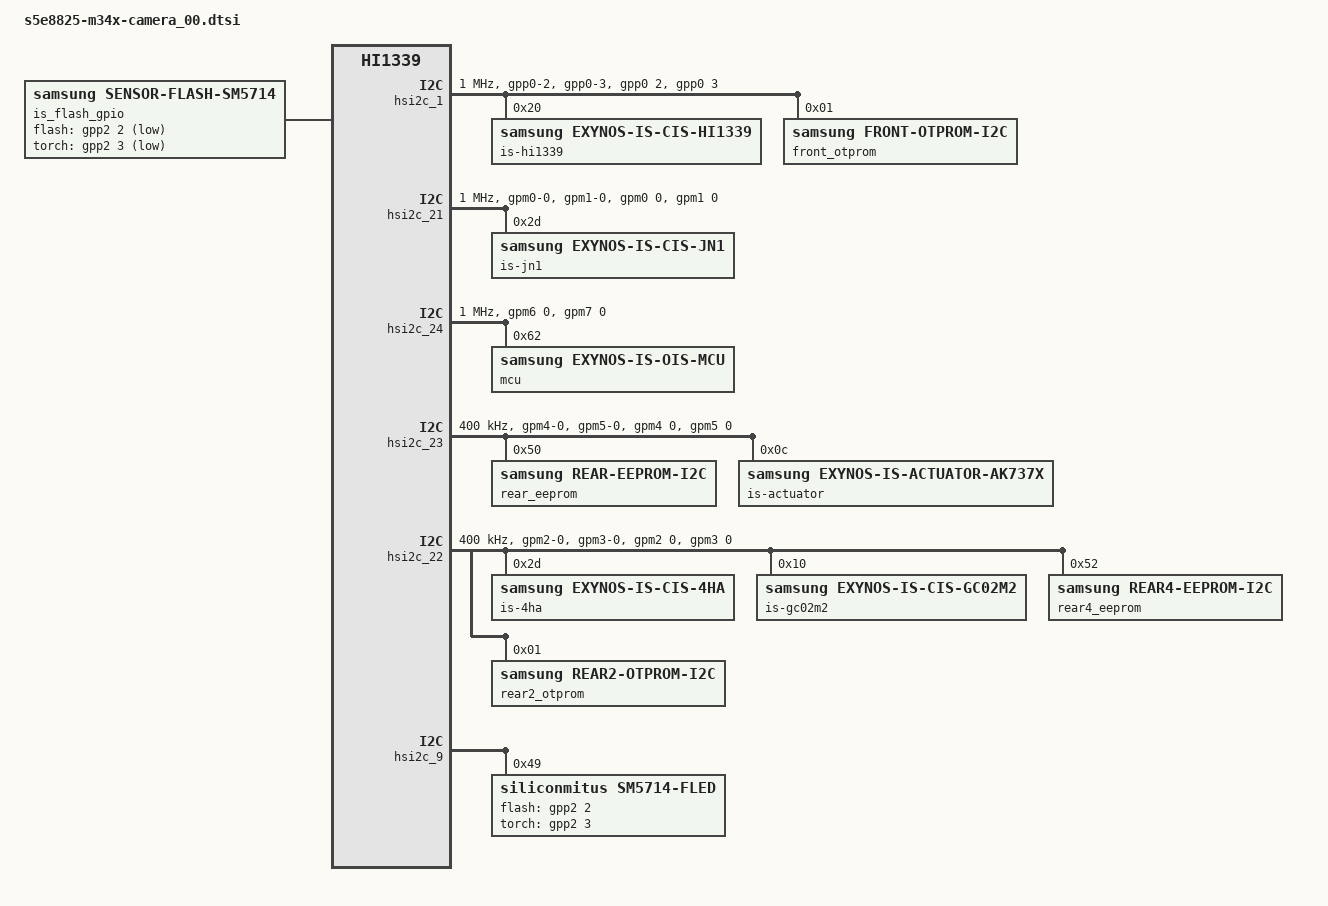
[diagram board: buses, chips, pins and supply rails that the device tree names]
/*
 * Samsung Exynos SoC series Pablo driver
 *
 * Copyright (c) 2021 Samsung Electronics Co., Ltd
 *
 * This program is free software; you can redistribute it and/or modify
 * it under the terms of the GNU General Public License version 2 as
 * published by the Free Software Foundation.
 */

#include <dt-bindings/camera/exynos_is_dt.h>

#include "module_jn1.dtsi"
#include "module_4ha.dtsi"
#include "module_gc02m2.dtsi"
#include "module_hi1339.dtsi"

/ {
	fragment@camera {
		target-path = "/";
		__overlay__ {
			#address-cells = <2>;
			#size-cells = <1>;
			interrupt-parent = <&gic>;

			is_sensor_jn1: is_sensor_jn1@2D {
				power_seq {
					scenario_normal_on {
						20 { pname = "VDDIO_1.8V_CAM"; pin = <PIN_OUTPUT 1 6000>; gpio = <&gpm10 0 0x1>; share = <SRT_ACQUIRE SHARED_PIN1 1>; };
					};

					scenario_normal_off {
						90 { pname = "VDDIO_1.8V_CAM"; pin = <PIN_OUTPUT 0 0>; gpio = <&gpm10 0 0x1>; share = <SRT_RELEASE SHARED_PIN1 0>; };
					};

					scenario_ois_factory_on {
						20 { pname = "VDDIO_1.8V_CAM"; pin = <PIN_OUTPUT 1 1000 1800000>; gpio = <&gpm10 0 0x1>; share = <SRT_ACQUIRE SHARED_PIN1 1>; };
					};

					scenario_ois_factory_off {
						90 { pname = "VDDIO_1.8V_CAM"; pin = <PIN_OUTPUT 0 0>; gpio = <&gpm10 0 0x1>; share = <SRT_RELEASE SHARED_PIN1 0>; };
					};

					scenario_read_rom_on {
						10 { pname = "VDDIO_1.8V_CAM"; pin = <PIN_OUTPUT 1 6000>; gpio = <&gpm10 0 0x1>; share = <SRT_ACQUIRE SHARED_PIN1 1>; };
					};

					scenario_read_rom_off {
						20 { pname = "VDDIO_1.8V_CAM"; pin = <PIN_OUTPUT 0 22000>; gpio = <&gpm10 0 0x1>; share = <SRT_RELEASE SHARED_PIN1 0>; };
					};
				};
			};

			/* Front */
			is_sensor_hi1339: is_sensor_hi1339@20 {
				power_seq {
					scenario_normal_on {
						30 { pname = "VDDIO_1.8V_CAM"; pin = <PIN_OUTPUT 1 0>; gpio = <&gpm10 0 0x1>; share = <SRT_ACQUIRE SHARED_PIN1 1>;};
					};

					scenario_normal_off {
						90 { pname = "VDDIO_1.8V_CAM"; pin = <PIN_OUTPUT 0 0>; gpio = <&gpm10 0 0x1>; share = <SRT_RELEASE SHARED_PIN1 0>;};
					};

					scenario_read_rom_on {
						30 { pname = "VDDIO_1.8V_CAM"; pin = <PIN_OUTPUT 1 0>; gpio = <&gpm10 0 0x1>; share = <SRT_ACQUIRE SHARED_PIN1 1>;};
					};

					scenario_read_rom_off {
						90 { pname = "VDDIO_1.8V_CAM"; pin = <PIN_OUTPUT 0 0>; gpio = <&gpm10 0 0x1>; share = <SRT_RELEASE SHARED_PIN1 0>;};
					};

				};
			};

			/* MACRO */
			is_sensor_gc02m2: is_sensor_gc02m2@20 {  /* is_sensor_gc02m1: is_sensor_gc02m1@6e */
				power_seq {
					scenario_normal_on {
						20 { pname = "VDDIO_1.8V_CAM"; pin = <PIN_OUTPUT 1 1000>; gpio = <&gpm10 0 0x1>; share = <SRT_ACQUIRE SHARED_PIN1 1>;};
						30 { pname = "VDDA_2.8V_RACM2_RCAM3"; pin = <PIN_OUTPUT 1 1000>; gpio = <&gpm9 0 0x1>; share = <SRT_ACQUIRE SHARED_PIN3 1>;};
						60 { pname = "MCLK"; pin = <PIN_MCLK 1 12000>; gpio = <&gpg0 4 0x1>; share = <SRT_ACQUIRE SHARED_PIN2 1>;};
					};

					scenario_normal_off {
						20 { pname = "MCLK"; pin = <PIN_MCLK 0 0>; gpio = <&gpg0 4 0x1>; share = <SRT_RELEASE SHARED_PIN2 0>;};
						70 { pname = "VDDA_2.8V_RACM2_RCAM3"; pin = <PIN_OUTPUT 0 11000>; gpio = <&gpm9 0 0x1>; share = <SRT_RELEASE SHARED_PIN3 0>;};
						80 { pname = "VDDIO_1.8V_CAM"; pin = <PIN_OUTPUT 0 1000>; gpio = <&gpm10 0 0x1>; share = <SRT_RELEASE SHARED_PIN1 0>;};
					};

					scenario_read_rom_on {
						10 { pname = "VDDIO_1.8V_CAM"; pin = <PIN_OUTPUT 1 7500>; gpio = <&gpm10 0 0x1>; share = <SRT_ACQUIRE SHARED_PIN1 1>;};
					};

					scenario_read_rom_off {
						20 { pname = "VDDIO_1.8V_CAM"; pin = <PIN_OUTPUT 0 1000>; gpio = <&gpm10 0 0x1>; share = <SRT_RELEASE SHARED_PIN1 0>;};
					};
				};
			};

			/* UW */
			is_sensor_4ha: is_sensor_4ha@5A {
				power_seq {
					scenario_normal_on {
						20 { pname = "VDDIO_1.8V_CAM"; pin = <PIN_OUTPUT 1 0>; gpio = <&gpm10 0 0x1>; share = <SRT_ACQUIRE SHARED_PIN1 1>;};
						40 { pname = "VDDA_2.8V_RACM2_RCAM3"; pin = <PIN_OUTPUT 1 0>; gpio = <&gpm9 0 0x1>; share = <SRT_ACQUIRE SHARED_PIN3 1>;};
						70 { pname = "MCLK"; pin = <PIN_MCLK 1 1500>; gpio = <&gpg0 4 0x1>; share = <SRT_ACQUIRE SHARED_PIN2 1>;};
					};

					scenario_normal_off {
						20 { pname = "MCLK"; pin = <PIN_MCLK 0 0>; gpio = <&gpg0 4 0x1>; share = <SRT_RELEASE SHARED_PIN2 0>;};
						70 { pname = "VDDA_2.8V_RACM2_RCAM3"; pin = <PIN_OUTPUT 0 11000>; gpio = <&gpm9 0 0x1>; share = <SRT_RELEASE SHARED_PIN3 0>;};
						90 { pname = "VDDIO_1.8V_CAM"; pin = <PIN_OUTPUT 0 0>; gpio = <&gpm10 0 0x1>; share = <SRT_RELEASE SHARED_PIN1 0>;};
					};

					scenario_read_rom_on {
						20 { pname = "VDDIO_1.8V_CAM"; pin = <PIN_OUTPUT 1 0>; gpio = <&gpm10 0 0x1>; share = <SRT_ACQUIRE SHARED_PIN1 1>;};
						40 { pname = "VDDA_2.8V_RACM2_RCAM3"; pin = <PIN_OUTPUT 1 0>; gpio = <&gpm9 0 0x1>; share = <SRT_ACQUIRE SHARED_PIN3 1>;};
						70 { pname = "MCLK"; pin = <PIN_MCLK 1 1500>; gpio = <&gpg0 4 0x1>; share = <SRT_ACQUIRE SHARED_PIN2 1>;};
					};

					scenario_read_rom_off {
						20 { pname = "MCLK"; pin = <PIN_MCLK 0 0>; gpio = <&gpg0 4 0x1>; share = <SRT_RELEASE SHARED_PIN2 0>;};
						70 { pname = "VDDA_2.8V_RACM2_RCAM3"; pin = <PIN_OUTPUT 0 11000>; gpio = <&gpm9 0 0x1>; share = <SRT_RELEASE SHARED_PIN3 0>;};
						90 { pname = "VDDIO_1.8V_CAM"; pin = <PIN_OUTPUT 0 0>; gpio = <&gpm10 0 0x1>; share = <SRT_RELEASE SHARED_PIN1 0>;};
					};
				};
			};

			is_flash_gpio: is-flash-gpio@0 {
				compatible = "samsung,sensor-flash-sm5714";
				sensor-module = <&is_sensor_jn1>,<&is_sensor_gc02m2>;
				id = <0 3>;
				status = "okay";
				flash-gpio = <&gpp2 2 0x1>;
				torch-gpio = <&gpp2 3 0x1>;
			};

		dcphy_setfile_dphy_m34x_vt_uw: dcphy_setfile_dphy_m34x_vt_uw@00 {
			comm {
				/* bias */
				0  = <0x1000 0 32 0x00000010 IDX_BIA_VAL 0>; /* M_BIAS_CON0 */
				1  = <0x1004 0 32 0x00000110 IDX_BIA_VAL 0>; /* M_BIAS_CON1 */
				2  = <0x1008 0 32 0x00003223 IDX_BIA_VAL 0>; /* M_BIAS_CON2 */
				3  = <0x1010 0 32 0x00000200 IDX_BIA_VAL 0>; /* M_BIAS_CON4 */

				/* clock */
				4  = <0x0004 0 32 0x00001450 IDX_FIX_VAL 0>; /* SC_GNR_CON1 */
				5  = <0x0008 0 32 0x00000009 IDX_FIX_VAL 0>; /* SC_ANA_CON0 */
				6  = <0x000C 0 32 0x0000E840 IDX_FIX_VAL 0>; /* SC_ANA_CON1 */
				7  = <0x0010 0 32 0x00000003 IDX_FIX_VAL 0>; /* SC_ANA_CON2 */
				8  = <0x0014 0 32 0x00008600 IDX_FIX_VAL 0>; /* SC_ANA_CON3 */
				9  = <0x0018 0 32 0x00004000 IDX_FIX_VAL 0>; /* SC_ANA_CON4 */
				10 = <0x0030 0 32 0x00000301 IDX_FIX_VAL 0>; /* SC_TIME_CON0 */
				/* Enable should be set at last. */
				11 = <0x0000 0 32 0x00000001 IDX_FIX_VAL 0>; /* SC_GNR_CON0, Phy clock enable */
			};

			lane {
				0  = <0x0004 0 32 0x00001450 IDX_FIX_VAL 4>; /* SD_GNR_CON1 */
				1  = <0x0008 0 32 0x00000001 IDX_FIX_VAL 4>; /* SD_ANA_CON0 - for setting of sd lane */
				2  = <0x0008 0 32 0x00000009 IDX_FIX_VAL 3>; /* SD_ANA_CON0 - for setting of csd lane */
				3  = <0x000C 0 32 0x0000E840 IDX_FIX_VAL 4>; /* SD_ANA_CON1 */
				4  = <0x0010 0 32 0x00000003 IDX_FIX_VAL 4>; /* SD_ANA_CON2 */
				5  = <0x0010 8  2 0x00000000 IDX_SKW_DLY 4>; /* SD_ANA_CON2 */
				6  = <0x0014 0 32 0x00008600 IDX_FIX_VAL 4>; /* SD_ANA_CON3 */
				7  = <0x0018 0 32 0x00004000 IDX_FIX_VAL 4>; /* SD_ANA_CON4 */
				8  = <0x0024 0 32 0x00000040 IDX_FIX_VAL 3>; /* SD_ANA_CON7 - for setting of only csd */
				9  = <0x0030 0  8 0x00000000 IDX_STL_VAL 4>; /* SD_TIME_CON0 */
				10 = <0x0030 8  1 0x00000000 IDX_STL_CLK 4>; /* SD_TIME_CON0 */
				11 = <0x0034 0 32 0x00000003 IDX_FIX_VAL 4>; /* SD_TIME_CON1 */
				12 = <0x0040 0  1 0x00000001 IDX_SKW_CAL 4>; /* SD_DESKEW_CON0 */
				13 = <0x0050 0 32 0x0000081A IDX_FIX_VAL 4>; /* SD_DESKEW_CON4 */
				/* Enable should be set at last. */
				14 = <0x0000 0 32 0x00000001 IDX_FIX_VAL 4>; /* SD_GNR_CON0 , Phy data enable */
			};
		};

		dphy_setfile_m34x_w_m: dphy_setfile_m34x_w_m@00 {
			comm {
				/* bias */
				0  = <0x1000 0 32 0x00000010 IDX_BIA_VAL 0>; /* M_BIAS_CON0 */
				1  = <0x1004 0 32 0x00000110 IDX_BIA_VAL 0>; /* M_BIAS_CON1 */
				2  = <0x1008 0 32 0x00003223 IDX_BIA_VAL 0>; /* M_BIAS_CON2 */
				3  = <0x1010 0 32 0x00000200 IDX_BIA_VAL 0>; /* M_BIAS_CON4 */

				/* clock */
				4  = <0x0004 0 32 0x00001450 IDX_FIX_VAL 0>; /* SC_GNR_CON1 */
				5  = <0x0008 0 32 0x00000009 IDX_FIX_VAL 0>; /* SC_ANA_CON0 */
				6  = <0x000C 0 32 0x0000EA61 IDX_FIX_VAL 0>; /* SC_ANA_CON1 */
				7  = <0x0010 0 32 0x00000003 IDX_FIX_VAL 0>; /* SC_ANA_CON2 */
				8  = <0x0014 0 32 0x00008600 IDX_FIX_VAL 0>; /* SC_ANA_CON3 */
				9  = <0x0018 0 32 0x00004000 IDX_FIX_VAL 0>; /* SC_ANA_CON4 */
				10 = <0x0030 0 32 0x00000301 IDX_FIX_VAL 0>; /* SC_TIME_CON0 */
				/* Enable should be set at last. */
				11 = <0x0000 0 32 0x00000001 IDX_FIX_VAL 0>; /* SC_GNR_CON0, Phy clock enable */
			};

			lane {
				0  = <0x0004 0 32 0x00001450 IDX_FIX_VAL 4>; /* SD_GNR_CON1 */
				1  = <0x0008 0 32 0x00000001 IDX_FIX_VAL 4>; /* SD_ANA_CON0 */
				2  = <0x000C 0 32 0x0000EA61 IDX_FIX_VAL 4>; /* SD_ANA_CON1 */
				3  = <0x0010 0 32 0x00000003 IDX_FIX_VAL 4>; /* SD_ANA_CON2 */
				4  = <0x0010 8  2 0x00000000 IDX_SKW_DLY 4>; /* SD_ANA_CON2 */
				5  = <0x0014 0 32 0x00008600 IDX_FIX_VAL 4>; /* SD_ANA_CON3 */
				6  = <0x0018 0 32 0x00004000 IDX_FIX_VAL 4>; /* SD_ANA_CON4 */
				7  = <0x0030 0  8 0x00000000 IDX_STL_VAL 4>; /* SD_TIME_CON0 */
				8  = <0x0030 8  1 0x00000000 IDX_STL_CLK 4>; /* SD_TIME_CON0 */
				9  = <0x0034 0 32 0x00000003 IDX_FIX_VAL 4>; /* SD_TIME_CON1 */
				10 = <0x0040 0  1 0x00000001 IDX_SKW_CAL 4>; /* SD_DESKEW_CON0 */
				11 = <0x0050 0 32 0x0000081A IDX_FIX_VAL 4>; /* SD_DESKEW_CON4 */
				/* Enable should be set at last. */
				12 = <0x0000 0 32 0x00000001 IDX_FIX_VAL 4>; /* SD_GNR_CON0 , Phy data enable */
			};
		};

			/* REAR CAMERA */
			is_sensor0: is_sensor0@15030000 {
				#address-cells = <1>;
				#size-cells = <1>;
				scenario = <SENSOR_SCENARIO_NORMAL>;	/* Normal, Vision, OIS etc */
				reg = <0x0 0x15050000 0x1000>, /* MIPI-CSI2 */
					<0x0 0x150F0000 0x10000>; /* PHY: M0S4S4S4S4S2S1 */
				//scenario = <SENSOR_SCENARIO_NORMAL>;    /* Normal, Vision, OIS etc */
				id = <0>;
				csi_ch = <2>;
				status = "okay";
				use_cphy = <0>;
				interrupts = <0 INTREQ__CSIS2 IRQ_TYPE_LEVEL_HIGH>; /* MIPI-CSI2 */
				interrupt-names = "csi";
				phys = <&mipi_phy_csis2_m0s4s4s4s4s2s1 0>;
				phy_setfile = <&dphy_setfile_m34x_w_m>;
				phy_tune_default_mode = "2032 1524 120";
			};

			/* MACRO CAMERA */
			is_sensor1: is_sensor1@15040000 {
				#address-cells = <1>;
				#size-cells = <1>;
				reg = <0x0 0x15060000 0x1000>, /* MIPI-CSI3 */
					<0x0 0x150F0000 0x10000>; /* PHY: M0S4S4S4S4S2S1 */
				scenario = <SENSOR_SCENARIO_NORMAL>;    /* Normal, Vision, OIS etc */
				id = <3>;
				csi_ch = <3>;
				status = "okay";
				use_cphy = <0>;
				interrupts = <0 INTREQ__CSIS3 IRQ_TYPE_LEVEL_HIGH>; /* MIPI-CSI3 */
				interrupt-names = "csi";
				phys = <&mipi_phy_csis3_m0s4s4s4s4s2s1 0>;
				phy_setfile = <&dphy_setfile_m34x_w_m>;
				phy_tune_default_mode = "1600 1200 30";
			};

			/* UW CAMERA */
			is_sensor2: is_sensor2@15050000 {
				#address-cells = <1>;
				#size-cells = <1>;
				reg = <0x0 0x15040000 0x1000>, /* MIPI-CSI1 */
					<0x0 0x150F0000 0x10000>; /* PHY: M0S4S4S4S4S2S1 */
				scenario = <SENSOR_SCENARIO_NORMAL>;    /* Normal, Vision, OIS etc */
				id = <4>;
				csi_ch = <1>;
				status = "okay";
				interrupts = <0 INTREQ__CSIS1 IRQ_TYPE_LEVEL_HIGH>; /* MIPI-CSI1 */
				interrupt-names = "csi";
				phys = <&mipi_phy_csis1_m0s4s4s4s4s2s1 0>;
				phy_setfile = <&dcphy_setfile_dphy_m34x_vt_uw>;
				phy_tune_default_mode = "3264 2448 30";
			};

			/* FRONT CAMERA */
			is_sensor3: is_sensor3@15060000 {
				#address-cells = <1>;
				#size-cells = <1>;
				reg = <0x0 0x15030000 0x1000>, /* MIPI-CSI0 */
					<0x0 0x150F0000 0x10000>; /* PHY: M0S4S4S4S4S2S1 */
				scenario = <SENSOR_SCENARIO_NORMAL>;    /* Normal, Vision, OIS etc */
				id = <1>;
				csi_ch = <0>;
				status = "okay";
				interrupts = <0 INTREQ__CSIS0 IRQ_TYPE_LEVEL_HIGH>; /* MIPI-CSI0 */
				interrupt-names = "csi";
				phys = <&mipi_phy_csis0_m0s4s4s4s4s2s1 0>;
				phy_setfile = <&dcphy_setfile_dphy_m34x_vt_uw>;
				phy_tune_default_mode = "4128 3096 30";
			};

		}; /* end of __overlay__ */
	}; /* end of fragment */
}; /* end of root */

/***** reference symbol node *****/
/* GPIO_PERI */
&pinctrl_1 {
	/* WIDE I2C */
	hsi2c21_bus: hsi2c21-bus {
		samsung,pins = "gpm0-0", "gpm1-0";
		samsung,pin-function = <2>; /* 0: Input, 1: Output, 2: Func */
		samsung,pin-pud = <5>;      /* 0: NP, 1: PD, 2: Reserved, 3: PU */
		samsung,pin-drv = <0>;      /* 0: x1, 1: x2, 2: x3, 3: x4 */
	};

	hsi2c21_bus_in: hsi2c21-bus-in {
		samsung,pins = "gpm0-0", "gpm1-0";
		samsung,pin-function = <0>; /* 0: Input, 1: Output, 2: Func */
		samsung,pin-pud = <1>;      /* 0: NP, 1: PD, 2: Reserved, 3: PU */
		samsung,pin-drv = <0>;      /* 0: x1, 1: x2, 2: x3, 3: x4 */
		samsung,pin-con-pdn = <2>;  /* 0: Output0, 1: Output1, 2: Input, 3:Prev */
		samsung,pin-pud-pdn = <1>;  /* 0: NP, 1: PD, 2: Reserved, 3: PU */
	};

	/* BOKEH_UW_MACRO I2C */
	hsi2c22_bus: hsi2c22-bus {
		samsung,pins = "gpm2-0", "gpm3-0";
		samsung,pin-function = <3>; /* 0: Input, 1: Output, 2: Func */
		samsung,pin-pud = <3>;      /* 0: NP, 1: PD, 2: Reserved, 3: PU */
		samsung,pin-drv = <0>;      /* 0: x1, 1: x2, 2: x3, 3: x4 */
	};

	hsi2c22_bus_in: hsi2c22-bus-in {
		samsung,pins = "gpm2-0", "gpm3-0";
		samsung,pin-function = <0>; /* 0: Input, 1: Output, 2: Func */
		samsung,pin-pud = <1>;      /* 0: NP, 1: PD, 2: Reserved, 3: PU */
		samsung,pin-drv = <0>;      /* 0: x1, 1: x2, 2: x3, 3: x4 */
		samsung,pin-con-pdn = <2>;  /* 0: Output0, 1: Output1, 2: Input, 3:Prev */
		samsung,pin-pud-pdn = <1>;  /* 0: NP, 1: PD, 2: Reserved, 3: PU */
	};

	/* AF_EEP I2C */
	hsi2c23_bus: hsi2c23-bus {
		samsung,pins = "gpm4-0", "gpm5-0";
		samsung,pin-function = <2>; /* 0: Input, 1: Output, 2: Func */
		samsung,pin-pud = <3>;      /* 0: NP, 1: PD, 2: Reserved, 3: PU */
		samsung,pin-drv = <0>;      /* 0: x1, 1: x2, 2: x3, 3: x4 */
	};

	hsi2c23_bus_in: hsi2c23-bus-in {
		samsung,pins = "gpm4-0", "gpm5-0";
		samsung,pin-function = <0>; /* 0: Input, 1: Output, 2: Func */
		samsung,pin-pud = <1>;      /* 0: NP, 1: PD, 2: Reserved, 3: PU */
		samsung,pin-drv = <0>;      /* 0: x1, 1: x2, 2: x3, 3: x4 */
		samsung,pin-con-pdn = <2>;  /* 0: Output0, 1: Output1, 2: Input, 3:Prev */
		samsung,pin-pud-pdn = <1>;  /* 0: NP, 1: PD, 2: Reserved, 3: PU */
	};
};

&pinctrl_6 {

	/* FRONT I2C */
	hsi2c1_bus: hsi2c1-bus {
		samsung,pins = "gpp0-2", "gpp0-3";
		samsung,pin-function = <3>; /* 0: Input, 1: Output, 2: Func */
		samsung,pin-pud = <5>;      /* 0: NP, 1: PD, 2: Reserved, 3: PU */
		samsung,pin-drv = <0>;      /* 0: x1, 1: x2, 2: x3, 3: x4 */
	};

	hsi2c1_bus_in: hsi2c1-bus-in {
		samsung,pins = "gpp0-2", "gpp0-3";
		samsung,pin-function = <0>; /* 0: Input, 1: Output, 2: Func */
		samsung,pin-pud = <1>;      /* 0: NP, 1: PD, 2: Reserved, 3: PU */
		samsung,pin-drv = <0>;      /* 0: x1, 1: x2, 2: x3, 3: x4 */
		samsung,pin-con-pdn = <2>;  /* 0: Output0, 1: Output1, 2: Input, 3:Prev */
		samsung,pin-pud-pdn = <1>;  /* 0: NP, 1: PD, 2: Reserved, 3: PU */
	};

	is_flash: is-flash {
		samsung,pins = "gpp2-2", "gpp2-3";
		samsung,pin-function = <1>; /* 0: Input, 1: Output, 2: Func */
		samsung,pin-pud = <1>;      /* 0: NP, 1: PD, 2: Reserved, 3: PU */
		samsung,pin-drv = <0>;      /* 0: x1, 1: x2, 2: x3, 3: x4 */
		samsung,pin-con-pdn = <3>;  /* 0: Output0, 1: Output1, 2: Input, 3:Prev */
	};
};

&hsi2c_1 {
	#address-cells = <1>;
	#size-cells = <0>;
	gpios = <&gpp0 2 0 &gpp0 3 0>;
	status = "okay";
	clock-frequency = <1000000>;
	samsung,reset-before-trans;
	samsung,fast-plus-mode;

	pinctrl-names = "default","on_i2c","off_i2c";
	pinctrl-0 = <&hsi2c1_bus_in>;
	pinctrl-1 = <&hsi2c1_bus>;
	pinctrl-2 = <&hsi2c1_bus_in>;

	is-hi1339@40 {
		compatible = "samsung,exynos-is-cis-hi1339";
		sensor-module = <&is_sensor_hi1339>;
		reg = <0x20>; /* 1 bit right shift */
		id = <1>; /* matching is_sensor id */
		//use_initial_ae; /* for initial AE of face unlock */
		setfile = "setA";
		status = "okay";
		vendor_use_adaptive_mipi;
		sensor_f_number = <220>;	/* f number 2.2 */
	}; 
	front_otprom@40 { /* Front otprom */
		compatible = "samsung,front-otprom-i2c";
		reg = <0x01>;

		rom_power_position = <1>;
		rom_size = <0x1C84>;
		cal_map_es_version = <1>;
		camera_module_es_version = "A";
		/* skip_cal_loading;*/

		/* 20221026_A24 LTE_CAM1(Front_13M_Hi1339)_OTP_Front_Cal map V008.001_QC_LSI_MTK_??_Map.xlsx */
		/* 0 header */
		header_crc_check_list	= <0x0000 0x0051 0x0052>;
		/* 0 module */
		crc_check_list	= <0x0056 0x0477 0x0478>;
		/* Master */
		rom_header_version_start_addr	= <0x000A>;
		rom_header_cal_data_start_addr	= <0x0000>;
		rom_header_cal_map_ver_start_addr	= <0x0016>;
		rom_header_project_name_start_addr	= <0x1E>;
		rom_header_module_id_addr	= <0x0036>; /* 0x30 + reserved bytes */
		rom_header_sensor_id_addr	= <0x0040>;
		rom_awb_master_addr	= <0x0064>;

		/* standard cal */ 
		use_standard_cal;
		rom_standard_cal_start_addr	= <0x0056>;
		rom_standard_cal_end_addr	= <0x047B>;
		rom_standard_cal_sec2lsi_end_addr	= <0x1A63>;
		rom_awb_start_addr	= <0x0064>;
		rom_awb_end_addr	= <0x006B>;
		rom_shading_start_addr	= <0x006E>;
		rom_shading_end_addr	= <0x0466>;
		rom_awb_sec2lsi_start_addr	= <0x0064>;
		rom_awb_sec2lsi_end_addr	= <0x006B>;
		rom_awb_sec2lsi_checksum_addr	= <0x0070>;
		rom_awb_sec2lsi_checksum_len	= <0x000C>;
		rom_shading_sec2lsi_start_addr	= <0x0074>;
		rom_shading_sec2lsi_end_addr	= <0x1A5B>;
		rom_shading_sec2lsi_checksum_addr	= <0x1A60>;
		rom_shading_sec2lsi_checksum_len	= <0x19EC>;
	};
};

&hsi2c_21 {
	#address-cells = <1>;
	#size-cells = <0>;
	gpios = <&gpm0 0 0 &gpm1 0 0>;
	status = "okay";
	clock-frequency = <1000000>;
	samsung,reset-before-trans;
	samsung,fast-plus-mode;

	pinctrl-names = "default","on_i2c","off_i2c";
	pinctrl-0 = <&hsi2c21_bus_in>;
	pinctrl-1 = <&hsi2c21_bus>;
	pinctrl-2 = <&hsi2c21_bus_in>;

	is-jn1@5A {
		compatible = "samsung,exynos-is-cis-jn1";
		sensor-module = <&is_sensor_jn1>;
		reg = <0x2D>; /* 1 bit right shift */
		id = <0>; /* matching is_sensor id */
		setfile = "setA";
		status = "okay";
		vendor_use_adaptive_mipi;
		sensor_f_number = <180>;	/* f number 1.8 */
	};
};

&hsi2c_24 {
	#address-cells = <1>;
	#size-cells = <0>;
	gpios = <&gpm6 0 0 &gpm7 0 0>;
	status = "okay";
	clock-frequency = <1000000>;
	samsung,reset-before-trans;
	samsung,fast-plus-mode;

	mcu@C4 {
		compatible = "samsung,exynos-is-ois-mcu";
		reg = <0x62>;
		id = <0>;
		/* wx_pole, wy_pole, gyro_orientation, tx_pole, ty_pole */
		ois_gyro_list = <0x00 0x00 0x00>;
	};
};

&hsi2c_23 {
	#address-cells = <1>;
	#size-cells = <0>;
	gpios = <&gpm4 0 0 &gpm5 0 0>;
	status = "okay";
	clock-frequency = <400000>;
	samsung,reset-before-trans;

	pinctrl-names = "default","on_i2c","off_i2c";
	pinctrl-0 = <&hsi2c23_bus_in>;
	pinctrl-1 = <&hsi2c23_bus>;
	pinctrl-2 = <&hsi2c23_bus_in>;

	rear_eeprom@A0 { /* Rear Wide eeprom */
		compatible = "samsung,rear-eeprom-i2c";
		reg = <0x50>;

		rom_power_position = <0>;
		rom_size = <0x5382>;
		cal_map_es_version = <1>;
		camera_module_es_version = "A";
		/* skip_cal_loading;*/
		/* 0 header */
		header_crc_check_list = <0x0000 0x0103 0x0104>;
		crc_check_list = <  0x01A8 0x2253 0X2254
			0x26D8 0x2723 0x2724
			0x2728 0x2EE3 0x2EE4
			0x3748 0x3763 0x3764 >;
		/* Master */
		rom_header_version_start_addr = <0x76>;
		rom_header_cal_data_start_addr = <0x08>;
		rom_header_cal_map_ver_start_addr = <0x98>;
		rom_header_project_name_start_addr = <0xA0>;
		rom_header_module_id_addr = <0xB6>;
		rom_header_sensor_id_addr = <0xC0>;
		rom_awb_master_addr = <0x3748>;
#if 0
		/* Dual cal slave 0 - Bokeh DualCal info data (Set Cal) */
		rom_dualcal_slave0_start_addr = <0x1070>;
		rom_dualcal_slave0_size = <0x080C>; /* 2060 */
#endif
		/* Rear Crosstalk Cal data */
		rom_xtc_cal_data_start_addr = <0x01A8>;
		rom_xtc_cal_data_size = <0x20AC>;
		rom_xtc_cal_data_addr_list = <0x01A8 0x2253>;
		rear_remosaic_tetra_xtc_start_addr	= <0x1514>;
		rear_remosaic_tetra_xtc_size		= <0x0A34>;
		rear_remosaic_sensor_xtc_start_addr	= <0x1F48>;
		rear_remosaic_sensor_xtc_size		= <0x0300>;
		rear_remosaic_pdxtc_start_addr		= <0x01A8>;
		rear_remosaic_pdxtc_size			= <0x0FA0>;
		rear_remosaic_sw_ggc_start_addr		= <0x1148>;
		rear_remosaic_sw_ggc_size			= <0x0272>;

		rom_af_cal_addr = <0x26E4 0x26D8>; /*AF position inf 0 Near Far */

		use_standard_cal;
		rom_standard_cal_start_addr = <0x0108>;
		rom_standard_cal_end_addr = <0x3B67>;
		rom_standard_cal_sec2lsi_end_addr = <0x5147>;
		rom_awb_start_addr = <0x3748>;
		rom_awb_end_addr = <0x374F>;
		rom_shading_start_addr = <0x3768>;
		rom_shading_end_addr = <0x3B60>;
		rom_factory_start_addr = <0x3B68>;
		rom_factory_end_addr = <0x3DA1>;

		rom_awb_sec2lsi_start_addr = <0x3748>;
		rom_awb_sec2lsi_end_addr = <0x374F>;
		rom_awb_sec2lsi_checksum_addr = <0x3754>;
		rom_awb_sec2lsi_checksum_len = <0xC>;
		rom_shading_sec2lsi_start_addr = <0x3758>;
		rom_shading_sec2lsi_end_addr = <0x513F>;
		rom_shading_sec2lsi_checksum_addr = <0x5144>;
		rom_shading_sec2lsi_checksum_len = <0x19EC>;
		rom_factory_sec2lsi_start_addr = <0x5148>;

		/* sensor ois - xgg ygg xcoef ycoef xsupper ysupper calmark */
		rom_ois_list = <0x0158 0x015C 0x0164 0x0166 0x0180 0x0182 0x0178>;
	};

	is-actuator@18 {
		compatible = "samsung,exynos-is-actuator-ak737x";
		sensor-module = <&is_sensor_jn1>;
		reg = <0x0C>;
		id = <0>; /* matching is_sensor id */
		/* DW9825A: addr 0xF3, data 0x0E */
		vendor_product_id = <0xF3 0x0E 0xF3 0x00 0xF3 0x20 0xF3 0x13>;
		vendor_first_pos = <960>; /* 12bits */
		vendor_first_delay = <2000>;
		vendor_use_sleep_mode;
		vendor_use_standby_mode; /* with vendor_use_sleep_mode */
		/* delay settings for DW9825A */
		vendor_sleep_to_standby_delay = <3000>;
		vendor_active_to_standby_delay = <300>;
		status = "okay";
	};
};

&hsi2c_22 {
	#address-cells = <1>;
	#size-cells = <0>;
	gpios = <&gpm2 0 0 &gpm3 0 0>;
	status = "okay";
	clock-frequency = <400000>;
	samsung,reset-before-trans;

	pinctrl-names = "default","on_i2c","off_i2c";
	pinctrl-0 = <&hsi2c22_bus_in>;
	pinctrl-1 = <&hsi2c22_bus>;
	pinctrl-2 = <&hsi2c22_bus_in>;

	is-4ha@5A { /* UW */
		compatible = "samsung,exynos-is-cis-4ha";
		sensor-module = <&is_sensor_4ha>;
		reg = <0x2D>; /* 1 bit right shift */
		id = <4>; /* matching is_sensor id */
		setfile = "setB";
		status = "okay";
		sensor_f_number = <220>;	/* f number 2.2 */
	};
	is-gc02m2@20 { /* check macro */
		compatible = "samsung,exynos-is-cis-gc02m2";
		sensor-module = <&is_sensor_gc02m2>;
		reg = <0x10>; /* 1 bit right shift */
		id = <3>; /* matching is_sensor id */
		setfile = "setB";
		status = "okay";
		sensor_f_number = <240>;	/* f number 2.4 */
	};

	rear4_eeprom@A4 { /* Macro eeprom */
		compatible = "samsung,rear4-eeprom-i2c";
		reg = <0x52>;

		rom_power_position = <6>;
		rom_size = <0x1DC0>;
		cal_map_es_version = <1>;
		camera_module_es_version = "A";
		/* skip_cal_loading; */

		/* 0 header */
		header_crc_check_list = <0x0000 0x00FB 0x00FC>;
		/* 0 module */
		crc_check_list = <  0x0100 0x019B 0X019C 
			0x01A0 0x01AB 0x01AC
			0x01B0 0x05AB 0x05AC >;
		/* Master */
		rom_header_version_start_addr = <0x5E>;
		rom_header_cal_data_start_addr = <0x00>;
		rom_header_cal_map_ver_start_addr = <0x90>;
		rom_header_project_name_start_addr = <0x98>;
		rom_header_module_id_addr = <0xAE>;
		rom_header_sensor_id_addr = <0xB8>;
		rom_awb_master_addr = <0x01A0>;

		/* standard cal */
		use_standard_cal;
		rom_standard_cal_start_addr = <0x0100>;
		rom_standard_cal_end_addr = <0x05AF>;
		rom_standard_cal_sec2lsi_end_addr = <0x1B9F>;
		rom_awb_start_addr = <0x01A0>;
		rom_awb_end_addr = <0x01A7>;
		rom_shading_start_addr = <0x01B0>;
		rom_shading_end_addr = <0x05A8>;
		rom_factory_start_addr = <0x05B0>;
		rom_factory_end_addr = <0x07CF>;

		rom_awb_sec2lsi_start_addr = <0x01A0>;
		rom_awb_sec2lsi_end_addr = <0x01A7>;
		rom_awb_sec2lsi_checksum_addr = <0x01AC>;
		rom_awb_sec2lsi_checksum_len = <0xC>;
		rom_shading_sec2lsi_start_addr = <0x01B0>;
		rom_shading_sec2lsi_end_addr = <0x1B97>;
		rom_shading_sec2lsi_checksum_addr = <0x1B9C>;
		rom_shading_sec2lsi_checksum_len = <0x19EC>;
		rom_factory_sec2lsi_start_addr = <0x1BA0>;
	};

	rear2_otprom@5A { /* UW OTPROM */
		compatible = "samsung,rear2-otprom-i2c";
		reg = <0x01>;

		rom_power_position = <4>;
		rom_size = <0x1AA0>;
		cal_map_es_version = <1>;
		camera_module_es_version = "A";
		/* skip_cal_loading; */

		/* 20220824_A34 5G_CAM2(UW_8M_4HA)_OTP_Rear_Cal map V008.001_QC_LSI_MTK_공용_Map */
		/* 0 header */
		header_crc_check_list = <0x0000 0x0051 0x0052>;
		/* 0 module */
		crc_check_list = <0x0056 0x0477 0x0478>;
		/* Master */
		rom_header_version_start_addr = <0x000A>;
		rom_header_cal_data_start_addr = <0x0056>;
		rom_header_cal_map_ver_start_addr = <0x0016>;
		rom_header_project_name_start_addr = <0x1E>;
		rom_header_module_id_addr = <0x0036>; /* 0x0030 + reserved bytes */
		rom_header_sensor_id_addr = <0x0040>;
		rom_awb_master_addr = <0x0060>;

		/* standard cal */
		use_standard_cal;
		rom_standard_cal_start_addr = <0x0060>;
		rom_standard_cal_end_addr = <0x0A43>;
		rom_standard_cal_sec2lsi_end_addr = <0x1A5F>;
		rom_awb_start_addr = <0x0060>;
		rom_awb_end_addr = <0x0067>;
		rom_shading_start_addr = <0x006A>;
		rom_shading_end_addr = <0x0462>;
		rom_awb_sec2lsi_start_addr = <0x0060>;
		rom_awb_sec2lsi_end_addr = <0x0067>;
		rom_awb_sec2lsi_checksum_addr = <0x006C>;
		rom_awb_sec2lsi_checksum_len = <0xC>;
		rom_shading_sec2lsi_start_addr = <0x0070>;
		rom_shading_sec2lsi_end_addr = <0x1A57>;
		rom_shading_sec2lsi_checksum_addr = <0x1A5C>;
		rom_shading_sec2lsi_checksum_len = <0x19EC>;
	};
	
};

&hsi2c_9 {
	sm5714-fled@49 {
		compatible = "siliconmitus,sm5714-fled";
		status = "okay";
		reg = <0x49>;
		flash-gpio = <&gpp2 2 0>;
		torch-gpio = <&gpp2 3 0>;
		flash-brightness = <0xA>; /* 0x0(300mA), 0x1(700mA), 0x2(800mA), 0x3(900mA) ~ 0xF(1500mA) : 50mA Step */
		preflash-brightness = <0x4>;
		torch-brightness = <0x4>; /* 0x0(50mA) ~ 0x7(225mA) : 25mA Step */
		torch-brightness-levels = <0 1 2 5 7>;
		timeout = <0xff>;
	};
};

&exynos_is {
	pinctrl-names = "default","sleep";
	pinctrl-0 = <&is_flash>;
	pinctrl-1 = <>;

	vender {
		use_module_check;
		use_ois;
		check_sensor_vendor;
		ois_sensor_index = <0>;
		aperture_sensor_index = <0>;
		mcu_sensor_index = <0>;

		is_vendor_sensor_count = <4>;
		max_supported_camera = <4>;
		supported_cameraId = <0 1 58 60>;
		/* ois_gyro_list = <0x00 0x00 0x01 0x01 0x01>; */
		/*
		* Wide(0)
		* Front(1)
		* U Wide(2)
		* Front 80(3) - not available for factory
		* Front Secure(5) - not available for factory
		* DUAL_REAR_PORTRAIT_WIDE(23)
		* Bokeh(52)
		* Rear_UW(58)
		* Macro(60)
		*/

		/* sysfs camera id */
		max_camera_num = <5>;
		sensor_id { /* sensor position = <sensor_id> */
			0 = <72>;	/* JN1 */
			1 = <225>;	/* HI1339 */
			4 = <39>;	/* S5K4HA */
			6 = <222>;	/* GC02M2 */
		};

		camera_info0 {			/* 0 : sysfs rear */
			internal_id = <0>;	/* 0 : wide */
			isp = <0>;		/* 0 : INT, 1 : EXT, 2 : SOC */
			cal_memory = <2>;	/* 0 : N, 1 : FROM, 2 : EEPROM, 3 : OTP */
			read_version = <0>;	/* 0 : SYSFS, 1 : CAMON */
			core_voltage = <0>;	/* 0 : N, 1 : Y */
			upgrade = <0>;		/* 0 : N, 1 : SYSFS , 2 : CAMON */
			fw_write = <0>;		/* 0 : N, 1 : OS, 2 : SD, 3 : ALL */
			fw_dump = <0>;		/* 0 : N, 1 : Y */
			companion = <0>;	/* 0 : N, 1 : Y */
			ois = <1>;		/* 0 : N, 1 : Y */
			valid = <1>;		/* 0 : INVALID, 1 : VALID */
		};
		camera_info1 {			/* 1 : sysfs front */
			internal_id = <1>;	/* 1 : front master */
			isp = <0>;		/* 0 : INT, 1 : EXT, 2 : SOC */
			cal_memory = <3>;	/* 0 : N, 1 : FROM, 2 : EEPROM, 3 : OTP */
			read_version = <0>;	/* 0 : SYSFS, 1 : CAMON */
			core_voltage = <0>;	/* 0 : N, 1 : Y */
			upgrade = <0>;		/* 0 : N, 1 : SYSFS, 2 : CAMON */
			fw_write = <0>;		/* 0 : N, 1 : OS, 2 : SD, 3 : ALL */
			fw_dump = <0>;		/* 0 : N, 1 : Y */
			companion = <0>;	/* 0 : N, 1 : Y */
			ois = <0>;		/* 0 : N, 1 : Y */
			valid = <1>;		/* 0 : INVALID, 1 : VALID */
		};
		camera_info2 {			/* 4 : sysfs rear3 */
			internal_id = <4>;	/* 4 : ultra wide */
			isp = <0>;		/* 0 : INT, 1 : EXT, 2 : SOC */
			cal_memory = <3>;	/* 0 : N, 1 : FROM, 2 : EEPROM, 3 : OTP */
			read_version = <0>;	/* 0 : SYSFS, 1 : CAMON */
			core_voltage = <0>;	/* 0 : N, 1 : Y */
			upgrade = <0>;		/* 0 : N, 1 : SYSFS, 2 : CAMON */
			fw_write = <0>;		/* 0 : N, 1 : OS, 2 : SD, 3 : ALL */
			fw_dump = <0>;		/* 0 : N, 1 : Y */
			companion = <0>;	/* 0 : N, 1 : Y */
			ois = <0>;		/* 0 : N, 1 : Y */
			valid = <1>;		/* 0 : INVALID, 1 : VALID */
		};
		camera_info4 {			/* 6 : sysfs rear4 */
			internal_id = <6>;	/* 6 : MACRO */
			isp = <0>;		/* 0 : INT, 1 : EXT, 2 : SOC */
			cal_memory = <2>;	/* 0 : N, 1 : FROM, 2 : EEPROM, 3 : OTP */
			read_version = <0>;	/* 0 : SYSFS, 1 : CAMON */
			core_voltage = <0>;	/* 0 : N, 1 : Y */
			upgrade = <0>;		/* 0 : N, 1 : SYSFS, 2 : CAMON */
			fw_write = <0>;		/* 0 : N, 1 : OS, 2 : SD, 3 : ALL */
			fw_dump = <0>;		/* 0 : N, 1 : Y */
			companion = <0>;	/* 0 : N, 1 : Y */
			ois = <0>;		/* 0 : N, 1 : Y */
			valid = <1>;		/* 0 : INVALID, 1 : VALID   */
		};
	};

	lic_offsets {
		/* 3AA = <setA lic offset0, setA lic offset1, set A trigger context */
		/*		setB lic offset0, setB lic offset1, set B trigger context> */
		/* 4672: 4640x4352 */
		/* 5824: 5804x4352 */
		3AA = <5461 10922 0 5461 10922 0>;
	};

	buffer_info {
		ypp_buf_max_width = <4608>;	/* defalut value : 5760 */
	};

	is_dvfs {
		#define CPU_CL0	"0-5"
		#define CPU_CL1	"6-7"
		#define CPU_ALL	"0-7"

		table0 {
			desc = "dvfs table v0.2";

			default_cam = <1>;
			default_isp = <1>;
			default_mif = <1>;
			default_int = <2>;
			default_cpu = CPU_CL0;

			rear_single_photo_mif = <3>;
			rear_single_photo_int = <4>;
			rear_single_photo_cpu = CPU_CL0;

			rear_single_photo_full_mif = <2>;
			rear_single_photo_full_int = <3>;
			rear_single_photo_full_cpu = CPU_CL0;

			rear_single_vt_photo_mif = <2>;
			rear_single_vt_photo_int = <3>;
			rear_single_vt_photo_cpu = CPU_CL0;

			rear_single_video_fhd30_mif = <3>;
			rear_single_video_fhd30_int = <4>;
			rear_single_video_fhd30_cpu = CPU_CL0;

			rear_single_videohdr_mif = <0>;
			rear_single_videohdr_int = <0>;
			rear_single_videohdr_cpu = CPU_CL0;

			rear_single_video_fhd60_mif = <1>;
			rear_single_video_fhd60_int = <4>;
			rear_single_video_fhd60_cpu = CPU_CL0;

			rear_single_video_uhd30_mif = <0>;
			rear_single_video_uhd30_int = <4>;
			rear_single_video_uhd30_cpu = CPU_CL0;

			rear_single_video_uhd60_mif = <0>;
			rear_single_video_uhd60_int = <0>;
			rear_single_video_uhd60_cpu = CPU_CL0;

			rear_single_capture_isp = <1>;
			rear_single_capture_mif = <0>;
			rear_single_capture_int = <1>;
			rear_single_capture_cpu = CPU_CL0;

			rear_single_video_fhd120_mif = <0>;
			rear_single_video_fhd120_int = <4>;
			rear_single_video_fhd120_cpu = CPU_CL0;

			rear_single_video_fhd240_mif = <0>;
			rear_single_video_fhd240_int = <0>;
			rear_single_video_fhd240_hpg = <8>;
			rear_single_video_fhd240_cpu = CPU_CL0;

			rear_single_video_fhd480_mif = <0>;
			rear_single_video_fhd480_int = <0>;
			rear_single_video_fhd480_cpu = CPU_CL0;

			rear_single_video_hd30_mif = <4>;
			rear_single_video_hd30_int = <4>;
			rear_single_video_hd30_cpu = CPU_CL0;

			rear_single_video_hd240_mif = <0>;
			rear_single_video_hd240_int = <4>;
			rear_single_video_hd240_hpg = <8>;
			rear_single_video_hd240_cpu = CPU_CL0;

			rear_single_ssm_isp = <0>;
			rear_single_ssm_mif = <0>;
			rear_single_ssm_int = <0>;
			rear_single_ssm_cpu = CPU_CL0;

			rear_single_video_8k24_mif = <0>;
			rear_single_video_8k24_int = <0>;
			rear_single_video_8k24_cpu = CPU_CL0;

			rear_single_video_8k30_mif = <0>;
			rear_single_video_8k30_int = <0>;
			rear_single_video_8k30_cpu = CPU_CL0;

			rear_single_fastae_mif = <0>;
			rear_single_fastae_int = <4>;
			rear_single_fastae_cpu = CPU_CL0;

			rear_single_remosaic_photo_mif = <3>;
			rear_single_remosaic_photo_int = <4>;
			rear_single_remosaic_photo_cpu = CPU_CL0;

			rear_single_remosaic_capture_cam = <3>;
			rear_single_remosaic_capture_isp = <1>;
			rear_single_remosaic_capture_mif = <0>;
			rear_single_remosaic_capture_int = <1>;
			rear_single_remosaic_capture_cpu = CPU_CL0;

			rear_dual_wide_tele_photo_mif = <3>;
			rear_dual_wide_tele_photo_int = <4>;
			rear_dual_wide_tele_photo_cpu = CPU_CL0;

			rear_dual_wide_ultrawide_photo_mif = <0>;
			rear_dual_wide_ultrawide_photo_int = <0>;
			rear_dual_wide_ultrawide_photo_cpu = CPU_CL0;

			rear_dual_wide_ultrawide_video_fhd30_mif = <0>;
			rear_dual_wide_ultrawide_video_fhd30_int = <0>;
			rear_dual_wide_ultrawide_video_fhd30_cpu = CPU_CL0;

			rear_dual_wide_ultrawide_video_uhd30_mif = <0>;
			rear_dual_wide_ultrawide_video_uhd30_int = <0>;
			rear_dual_wide_ultrawide_video_uhd30_cpu = CPU_CL0;

			rear_dual_wide_ultrawide_capture_isp = <0>;
			rear_dual_wide_ultrawide_capture_mif = <0>;
			rear_dual_wide_ultrawide_capture_int = <0>;
			rear_dual_wide_ultrawide_capture_cpu = CPU_CL0;

			triple_photo_mif = <0>;
			triple_photo_int = <0>;
			triple_photo_cpu = CPU_CL0;

			triple_video_fhd30_mif = <0>;
			triple_video_fhd30_int = <0>;
			triple_video_fhd30_cpu = CPU_CL0;

			triple_video_uhd30_mif = <0>;
			triple_video_uhd30_int = <0>;
			triple_video_uhd30_cpu = CPU_CL0;

			triple_video_fhd60_mif = <0>;
			triple_video_fhd60_int = <0>;
			triple_video_fhd60_cpu = CPU_CL0;

			triple_video_uhd60_mif = <0>;
			triple_video_uhd60_int = <0>;
			triple_video_uhd60_cpu = CPU_CL0;

			triple_capture_isp = <0>;
			triple_capture_mif = <0>;
			triple_capture_int = <0>;
			triple_capture_cpu = CPU_CL0;

			front_single_photo_mif = <3>;
			front_single_photo_int = <4>;
			front_single_photo_cpu = CPU_CL0;

			front_single_photo_full_mif = <2>;
			front_single_photo_full_int = <3>;
			front_single_photo_full_cpu = CPU_CL0;

			front_single_video_fhd30_mif = <3>;
			front_single_video_fhd30_int = <4>;
			front_single_video_fhd30_cpu = CPU_CL0;

			front_single_video_uhd30_mif = <0>;
			front_single_video_uhd30_int = <4>;
			front_single_video_uhd30_cpu = CPU_CL0;

			front_single_video_fhd60_mif = <1>;
			front_single_video_fhd60_int = <4>;
			front_single_video_fhd60_cpu = CPU_CL0;

			front_single_video_uhd60_mif = <0>;
			front_single_video_uhd60_int = <0>;
			front_single_video_uhd60_cpu = CPU_CL0;

			front_single_video_hd30_mif = <4>;
			front_single_video_hd30_int = <4>;
			front_single_video_hd30_cpu = CPU_CL0;

			front_single_capture_isp = <1>;
			front_single_capture_mif = <0>;
			front_single_capture_int = <1>;
			front_single_capture_cpu = CPU_CL0;

			front_single_vt_mif = <2>;
			front_single_vt_int = <3>;
			front_single_vt_cpu = CPU_CL0;

			front_single_secure_isp = <6>;
			front_single_secure_mif = <2>;
			front_single_secure_int = <3>;
			front_single_secure_cpu = CPU_CL0;

			front_single_video_fhd120_mif = <0>;
			front_single_video_fhd120_int = <0>;
			front_single_video_fhd120_cpu = CPU_CL0;

			pip_dual_photo_mif = <0>;
			pip_dual_photo_int = <0>;
			pip_dual_photo_cpu = CPU_CL0;

			pip_dual_capture_isp = <0>;
			pip_dual_capture_mif = <0>;
			pip_dual_capture_int = <0>;
			pip_dual_capture_cpu = CPU_CL0;

			pip_dual_video_fhd30_mif = <0>;
			pip_dual_video_fhd30_int = <0>;
			pip_dual_video_fhd30_cpu = CPU_CL0;

			ext_rear_single_cam = <0>;
			ext_rear_single_isp = <0>;
			ext_rear_single_mif = <0>;
			ext_rear_single_int = <0>;
			ext_rear_single_cpu = CPU_CL0;

			ext_front_secure_cam = <0>;
			ext_front_secure_isp = <0>;
			ext_front_secure_mif = <0>;
			ext_front_secure_int = <0>;
			ext_front_secure_cpu = CPU_CL0;

			max_cam = <0>;
			max_isp = <0>;
			max_mif = <0>;
			max_int = <0>;
			max_cpu = CPU_CL0;
		};
	};
};

